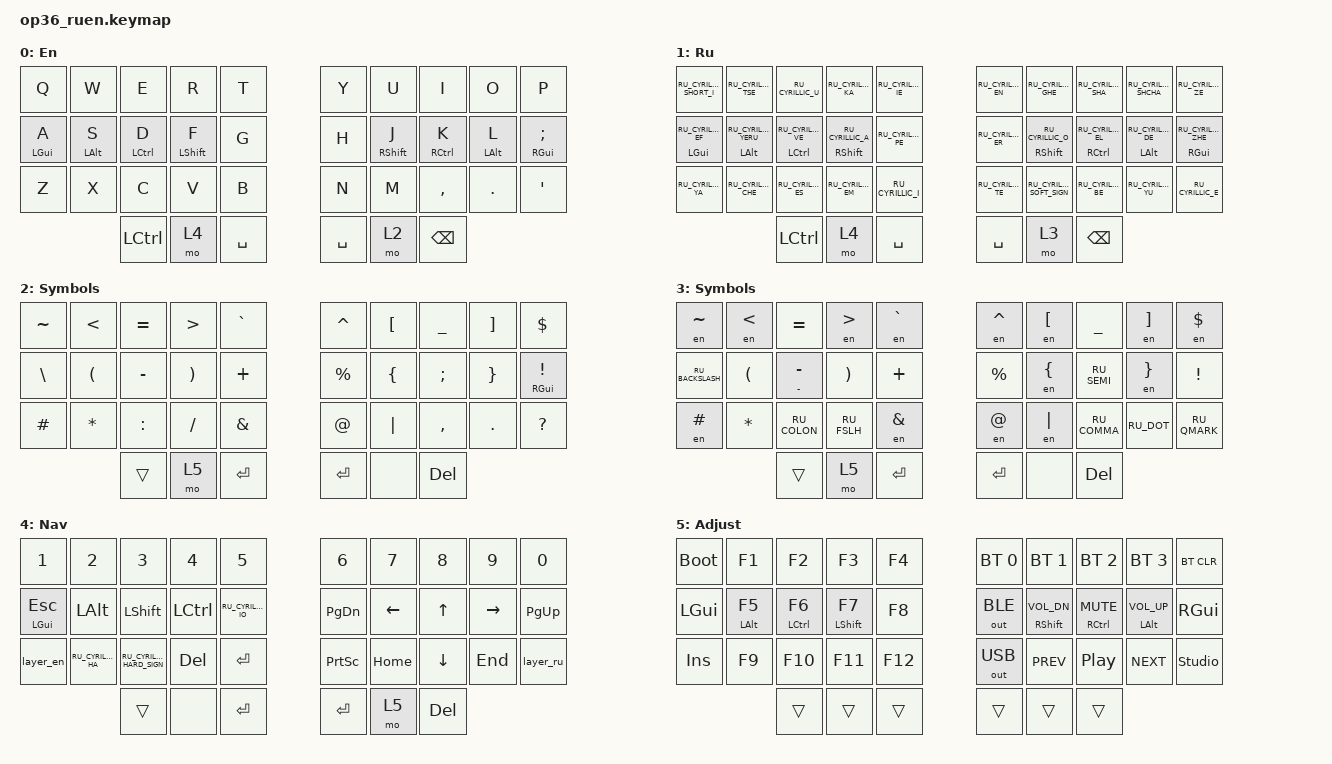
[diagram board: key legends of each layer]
#include "keys_ru.h"
#include "keys_ru.h"
#include <behaviors.dtsi>
#include <dt-bindings/zmk/bt.h>
#include <dt-bindings/zmk/keys.h>
#include <dt-bindings/zmk/outputs.h>

&mt {
    quick-tap-ms = <200>;
    flavor = "tap-preferred";
    require-prior-idle-ms = <125>;
};

/ {
    behaviors {
        hml: home_row_mod_left {
            compatible = "zmk,behavior-hold-tap";
            #binding-cells = <2>;
            flavor = "balanced";
            require-prior-idle-ms = <150>;
            tapping-term-ms = <280>;
            quick-tap-ms = <175>;
            bindings = <&kp>, <&kp>;

            hold-trigger-key-positions = <5 6 7 8 9 15 16 17 18 19 25 26 27 28 29 33 34 35>;
            hold-trigger-on-release;
        };

        hmr: home_row_mod_right {
            compatible = "zmk,behavior-hold-tap";
            #binding-cells = <2>;
            flavor = "balanced";
            require-prior-idle-ms = <150>;
            tapping-term-ms = <280>;
            quick-tap-ms = <175>;
            bindings = <&kp>, <&kp>;

            hold-trigger-key-positions = <0 1 2 3 4 10 11 12 13 14 20 21 22 23 24 30 31 32>;
            hold-trigger-on-release;
        };
    };

    combos {
        compatible = "zmk,combos";

        kha {
            bindings = <&kp RU_CYRILLIC_HA>;
            key-positions = <6 7>;
            layers = <1>;
        };

        hrdsgn {
            bindings = <&kp RU_CYRILLIC_HARD_SIGN>;
            key-positions = <7 8>;
            layers = <1>;
        };

        cmben {
            bindings = <&layer_en>;
            key-positions = <2 3>;
            layers = <1>;
        };

        cmbru {
            bindings = <&layer_ru>;
            key-positions = <2 3>;
            layers = <0>;
        };
    };

    macros {
        to_ru: to_ru {
            compatible = "zmk,behavior-macro";
            #binding-cells = <0>;
            bindings = <&kp LC(N2)>;
            label = "TO_RU";
            wait-ms = <0>;
            tap-ms = <30>;
        };

        to_en: to_en {
            compatible = "zmk,behavior-macro";
            #binding-cells = <0>;
            bindings = <&kp LC(N1)>;
            label = "TO_EN";
            wait-ms = <0>;
            tap-ms = <30>;
        };

        layer_en: layer_en {
            compatible = "zmk,behavior-macro";
            #binding-cells = <0>;
            bindings = <&to 0 &to_en>;
            label = "LAYER_EN";
            wait-ms = <0>;
            tap-ms = <30>;
        };

        layer_ru: layer_ru {
            compatible = "zmk,behavior-macro";
            #binding-cells = <0>;
            bindings = <&to 1 &to_ru>;
            label = "LAYER_RU";
            tap-ms = <30>;
            wait-ms = <0>;
        };

        en: en {
            compatible = "zmk,behavior-macro-one-param";
            #binding-cells = <1>;
            bindings =
                <&to_en>,
                <&macro_press>,
                <&macro_param_1to1 &kp MACRO_PLACEHOLDER>,
                <&macro_pause_for_release>,
                <&macro_release>,
                <&macro_param_1to1 &kp MACRO_PLACEHOLDER>,
                <&macro_tap>,
                <&to_ru>;

            label = "EN";
            wait-ms = <0>;
            tap-ms = <30>;
        };
    };

    keymap {
        compatible = "zmk,keymap";

        en {
            bindings = <
  &kp Q        &kp W        &kp E                &kp R              &kp T                          &kp Y  &kp U               &kp I                 &kp O        &kp P
  &hml LGUI A  &hml LALT S  &hml LEFT_CONTROL D  &hml LEFT_SHIFT F  &kp G                          &kp H  &hmr RIGHT_SHIFT J  &hmr RIGHT_CONTROL K  &hmr LALT L  &hmr RGUI SEMICOLON
  &kp Z        &kp X        &kp C                &kp V              &kp B                          &kp N  &kp M               &kp COMMA             &kp DOT      &kp SQT
                                                 &kp LCTRL          &mo 4  &kp SPACE    &kp SPACE  &mo 2  &kp BACKSPACE
            >;

            display-name = "En";
        };

        ru {
            bindings = <
  &kp RU_CYRILLIC_SHORT_I   &kp RU_CYRILLIC_TSE         &kp RU_CYRILLIC_U                 &kp RU_CYRILLIC_KA              &kp RU_CYRILLIC_IE                          &kp RU_CYRILLIC_EN  &kp RU_CYRILLIC_GHE             &kp RU_CYRILLIC_SHA                &kp RU_CYRILLIC_SHCHA     &kp RU_CYRILLIC_ZE
  &hml LGUI RU_CYRILLIC_EF  &hml LALT RU_CYRILLIC_YERU  &hml LEFT_CONTROL RU_CYRILLIC_VE  &hml RIGHT_SHIFT RU_CYRILLIC_A  &kp RU_CYRILLIC_PE                          &kp RU_CYRILLIC_ER  &hmr RIGHT_SHIFT RU_CYRILLIC_O  &hmr RIGHT_CONTROL RU_CYRILLIC_EL  &hmr LALT RU_CYRILLIC_DE  &hmr RGUI RU_CYRILLIC_ZHE
  &kp RU_CYRILLIC_YA        &kp RU_CYRILLIC_CHE         &kp RU_CYRILLIC_ES                &kp RU_CYRILLIC_EM              &kp RU_CYRILLIC_I                           &kp RU_CYRILLIC_TE  &kp RU_CYRILLIC_SOFT_SIGN       &kp RU_CYRILLIC_BE                 &kp RU_CYRILLIC_YU        &kp RU_CYRILLIC_E
                                                                                          &kp LEFT_CONTROL                &mo 4               &kp SPACE    &kp SPACE  &mo 3               &kp BACKSPACE
            >;

            display-name = "Ru";
        };

        sym_en {
            bindings = <
  &kp TILDE  &kp LT    &kp EQUAL  &kp GT    &kp GRAVE                          &kp CARET  &kp LBKT    &kp UNDER  &kp RBKT  &kp DLLR
  &kp BSLH   &kp LPAR  &kp MINUS  &kp RPAR  &kp PLUS                           &kp PRCNT  &kp LBRC    &kp SEMI   &kp RBRC  &hmr RGUI EXCL
  &kp HASH   &kp STAR  &kp COLON  &kp FSLH  &kp AMPS                           &kp AT     &kp PIPE    &kp COMMA  &kp DOT   &kp QMARK
                                  &trans    &mo 5      &kp ENTER    &kp ENTER  &none      &kp DELETE
            >;

            display-name = "Symbols";
        };

        sym_ru {
            bindings = <
  &en TILDE         &en LT    &kp EQUAL         &en GT       &en GRAVE                          &en CARET  &en LBKT    &kp UNDER     &en RBKT    &en DLLR
  &kp RU_BACKSLASH  &kp LPAR  &hml MINUS MINUS  &kp RPAR     &kp PLUS                           &kp PRCNT  &en LBRC    &kp RU_SEMI   &en RBRC    &kp EXCL
  &en HASH          &kp STAR  &kp RU_COLON      &kp RU_FSLH  &en AMPS                           &en AT     &en PIPE    &kp RU_COMMA  &kp RU_DOT  &kp RU_QMARK
                                                &trans       &mo 5      &kp ENTER    &kp ENTER  &none      &kp DELETE
            >;

            display-name = "Symbols";
        };

        nav {
            bindings = <
  &kp N1         &kp N2              &kp N3                     &kp N4      &kp N5                                      &kp N6           &kp N7      &kp N8        &kp N9     &kp N0
  &hml LGUI ESC  &kp LALT            &kp LSHFT                  &kp LCTRL   &kp RU_CYRILLIC_IO                          &kp PAGE_DOWN    &kp LEFT    &kp UP_ARROW  &kp RIGHT  &kp PAGE_UP
  &layer_en      &kp RU_CYRILLIC_HA  &kp RU_CYRILLIC_HARD_SIGN  &kp DELETE  &kp ENTER                                   &kp PRINTSCREEN  &kp HOME    &kp DOWN      &kp END    &layer_ru
                                                                &trans      &none               &kp ENTER    &kp ENTER  &mo 5            &kp DELETE
            >;

            display-name = "Nav";
        };

        adj {
            bindings = <
  &bootloader  &kp F1        &kp F2                &kp F3              &kp F4                     &bt BT_SEL 0  &bt BT_SEL 1               &bt BT_SEL 2               &bt BT_SEL 3        &bt BT_CLR
  &kp LGUI     &hml LALT F5  &hml LEFT_CONTROL F6  &hml LEFT_SHIFT F7  &kp F8                     &out OUT_BLE  &hmr RIGHT_SHIFT C_VOL_DN  &hmr RIGHT_CONTROL C_MUTE  &hmr LALT C_VOL_UP  &kp RGUI
  &kp INSERT   &kp F9        &kp F10               &kp F11             &kp F12                    &out OUT_USB  &kp C_PREV                 &kp C_PP                   &kp C_NEXT          &studio_unlock
                                                   &trans              &trans   &trans    &trans  &trans        &trans
            >;

            display-name = "Adjust";
        };
    };
};
